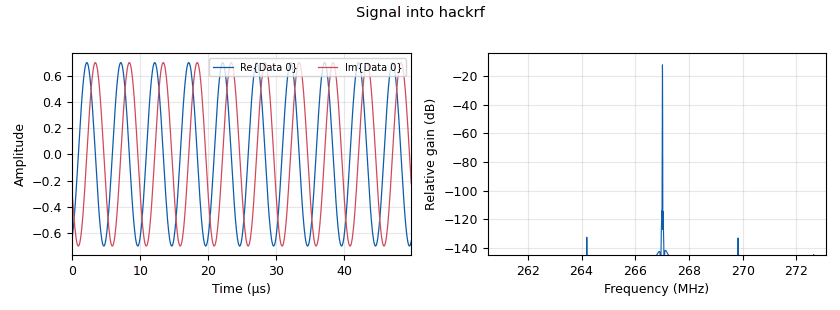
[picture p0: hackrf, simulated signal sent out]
options:
  parameters:
    author: Brian Johnson
    copyright: 2026 Brian Johnson
    description: CW carrier for HackRF level calibration. Amplitude 0.7 matches the constant envelope of the half-sine OQPSK wheel, so a dBmV reading of this tone equals the wheel's power at identical HackRF settings.
    generate_options: qt_gui
    id: nabu_cw_cal
    output_language: python
    title: NABU CW Calibration
  states: {}

blocks:
- name: rf_freq
  id: variable_qtgui_entry
  parameters:
    label: Carrier (Hz)
    type: real
    value: 267.0125e6
  states: {}
- name: samp_rate
  id: variable
  parameters:
    value: 12.624e6
  states: {}
- name: tone_offset
  id: variable
  parameters:
    comment: |-
      Tone sits this far above the HackRF LO so the
      calibration carrier lands away from the LO/DC leakage
      spur.
    value: 200e3
  states: {}
- name: tx_vga
  id: variable_qtgui_range
  parameters:
    label: TX VGA (dB)
    start: '0'
    step: '1'
    stop: '47'
    value: '9'
  states: {}
- name: cw_tone
  id: analog_sig_source_x
  parameters:
    amp: '0.7'
    freq: tone_offset
    offset: '0'
    phase: '0'
    samp_rate: samp_rate
    type: complex
    waveform: analog.GR_COS_WAVE
  states: {}
- name: hackrf
  id: soapy_hackrf_sink
  parameters:
    center_freq: rf_freq - tone_offset
    samp_rate: samp_rate
    type: fc32
    vga: tx_vga
  states: {}

connections:
- [cw_tone, '0', hackrf, '0']

metadata:
  file_format: 1
  grc_version: 3.10.9.2
